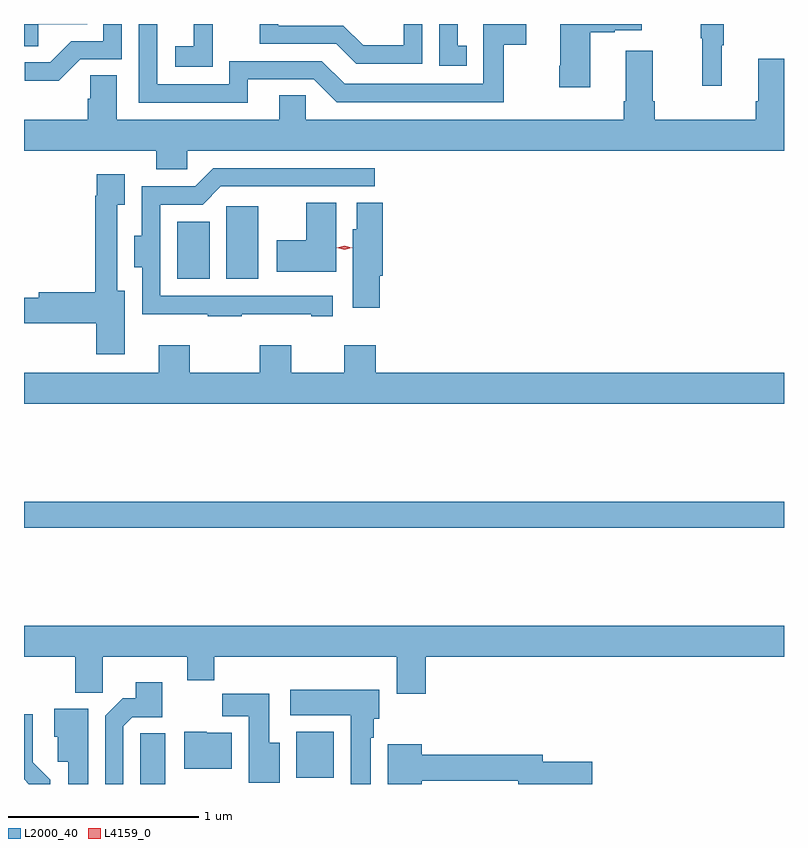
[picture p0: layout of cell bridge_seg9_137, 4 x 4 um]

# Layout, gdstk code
import gdstk
lib = gdstk.Library(unit=1e-6, precision=1e-09)
def R(c, l, rs):  # rectangles x0, y0, x1, y1
    for r in rs: c.add(gdstk.rectangle(r[:2], r[2:], *l))
def P(c, l, *ps):  # polygons
    for p in ps: c.add(gdstk.Polygon(p, *l))
L2000_40 = (2000, 40)
L4159_0 = (4159, 0)

bridge_seg9_137 = lib.new_cell('bridge_seg9_137')
R(bridge_seg9_137, L2000_40, [(471.425,1223.756,471.622,1223.998), (469.991,1225.072,473.991,1225.208), (470.798,1226.381,470.968,1226.683), (471.056,1226.381,471.223,1226.764)])
P(bridge_seg9_137, L2000_40, [(472.086,1227.723),(471.99,1227.723),(471.99,1227.61),(471.776,1227.61),(471.672,1227.714),(471.33,1227.714),(471.33,1227.723),(471.232,1227.723),(471.232,1227.618),(471.635,1227.618),(471.74,1227.513),(472.086,1227.513)],
  [(470.067,1227.722),(470.324,1227.722),(470.324,1227.723),(469.991,1227.723),(469.991,1227.607),(470.067,1227.607)],
  [(472.322,1227.609),(472.273,1227.609),(472.273,1227.723),(472.176,1227.723),(472.176,1227.504),(472.322,1227.504)],
  [(470.985,1227.703),(470.984,1227.703),(470.984,1227.723),(470.885,1227.723),(470.885,1227.607),(470.787,1227.607),(470.787,1227.497),(470.985,1227.497)],
  [(471.169,1227.432),(471.516,1227.432),(471.636,1227.312),(472.516,1227.312),(472.516,1227.615),(472.634,1227.615),(472.634,1227.723),(472.407,1227.723),(472.407,1227.408),(471.678,1227.408),(471.558,1227.528),(471.072,1227.528),(471.072,1227.405),(470.691,1227.405),(470.691,1227.723),(470.595,1227.723),(470.595,1227.309),(471.169,1227.309)],
  [(473.663,1227.611),(473.674,1227.611),(473.674,1227.723),(473.553,1227.723),(473.553,1227.648),(473.56,1227.648),(473.56,1227.399),(473.663,1227.399)],
  [(470.286,1227.537),(470.505,1227.537),(470.505,1227.723),(470.409,1227.723),(470.409,1227.633),(470.24,1227.633),(470.129,1227.522),(469.995,1227.522),(469.995,1227.425),(470.173,1227.425)],
  [(472.972,1227.679),(473.099,1227.679),(473.099,1227.689),(473.242,1227.689),(473.242,1227.723),(472.814,1227.723),(472.814,1227.502),(472.807,1227.502),(472.807,1227.39),(472.972,1227.39)],
  [(470.85,1227.056),(473.991,1227.056),(473.991,1227.541),(473.855,1227.541),(473.855,1227.316),(473.843,1227.316),(473.843,1227.22),(473.312,1227.22),(473.312,1227.316),(473.299,1227.316),(473.299,1227.583),(473.159,1227.583),(473.159,1227.316),(473.147,1227.316),(473.147,1227.22),(471.474,1227.22),(471.474,1227.347),(471.335,1227.347),(471.335,1227.22),(470.479,1227.22),(470.479,1227.452),(470.34,1227.452),(470.34,1227.329),(470.327,1227.329),(470.327,1227.22),(469.991,1227.22),(469.991,1227.056),(470.687,1227.056),(470.687,1226.958),(470.85,1226.958)],
  [(471.137,1226.195),(471.503,1226.195),(471.503,1226.184),(471.616,1226.184),(471.616,1226.292),(470.709,1226.292),(470.709,1226.772),(470.931,1226.772),(471.027,1226.868),(471.838,1226.868),(471.838,1226.964),(470.988,1226.964),(470.892,1226.868),(470.612,1226.868),(470.612,1226.608),(470.57,1226.608),(470.57,1226.444),(470.613,1226.444),(470.613,1226.195),(470.959,1226.195),(470.959,1226.184),(471.137,1226.184)],
  [(470.521,1226.32),(470.481,1226.32),(470.481,1226.771),(470.521,1226.771),(470.521,1226.932),(470.373,1226.932),(470.373,1226.819),(470.365,1226.819),(470.365,1226.312),(470.069,1226.312),(470.069,1226.282),(469.991,1226.282),(469.991,1226.147),(470.372,1226.147),(470.372,1225.986),(470.521,1225.986)],
  [(471.634,1226.783),(471.476,1226.783),(471.476,1226.584),(471.321,1226.584),(471.321,1226.42),(471.634,1226.42)],
  [(471.863,1226.397),(471.878,1226.397),(471.878,1226.782),(471.743,1226.782),(471.743,1226.643),(471.722,1226.643),(471.722,1226.229),(471.863,1226.229)],
  [(473.991,1225.888),(471.841,1225.888),(471.841,1226.032),(471.677,1226.032),(471.677,1225.888),(471.397,1225.888),(471.397,1226.032),(471.233,1226.032),(471.233,1225.888),(470.863,1225.888),(470.863,1226.032),(470.699,1226.032),(470.699,1225.888),(469.991,1225.888),(469.991,1225.724),(473.991,1225.724)],
  [(472.106,1224.392),(473.991,1224.392),(473.991,1224.556),(469.991,1224.556),(469.991,1224.392),(470.26,1224.392),(470.26,1224.203),(470.406,1224.203),(470.406,1224.392),(470.849,1224.392),(470.849,1224.268),(470.993,1224.268),(470.993,1224.392),(471.953,1224.392),(471.953,1224.198),(472.106,1224.198)],
  [(470.514,1224.027),(470.562,1224.075),(470.719,1224.075),(470.719,1224.259),(470.579,1224.259),(470.579,1224.174),(470.511,1224.174),(470.418,1224.081),(470.418,1223.723),(470.514,1223.723)],
  [(471.817,1223.966),(471.832,1223.966),(471.832,1224.066),(471.862,1224.066),(471.862,1224.22),(471.393,1224.22),(471.393,1224.086),(471.71,1224.086),(471.71,1223.723),(471.817,1223.723)],
  [(471.337,1223.94),(471.283,1223.94),(471.283,1224.199),(471.034,1224.199),(471.034,1224.08),(471.173,1224.08),(471.173,1223.73),(471.337,1223.73)],
  [(470.329,1224.118),(470.15,1224.118),(470.15,1223.973),(470.169,1223.973),(470.169,1223.841),(470.225,1223.841),(470.225,1223.723),(470.329,1223.723)],
  [(470.13,1223.746),(470.038,1223.838),(470.038,1224.091),(469.991,1224.091),(469.991,1223.749),(470.017,1223.723),(470.13,1223.723)],
  [(471.085,1223.992),(470.952,1223.992),(470.952,1223.998),(470.834,1223.998),(470.834,1223.804),(471.085,1223.804)],
  [(470.734,1223.99),(470.604,1223.99),(470.604,1223.882),(470.603,1223.882),(470.603,1223.723),(470.734,1223.723)],
  [(472.084,1223.74),(472.592,1223.74),(472.592,1223.723),(472.981,1223.723),(472.981,1223.84),(472.72,1223.84),(472.72,1223.876),(472.084,1223.876),(472.084,1223.932),(471.905,1223.932),(471.905,1223.723),(472.084,1223.723)])
P(bridge_seg9_137, L4159_0, [(471.678,1226.536),(471.638,1226.546),(471.638,1226.546),(471.638,1226.546),(471.678,1226.556),(471.717,1226.546),(471.718,1226.546),(471.717,1226.546)])

lib.write_gds('bridge_seg9_137.gds')
